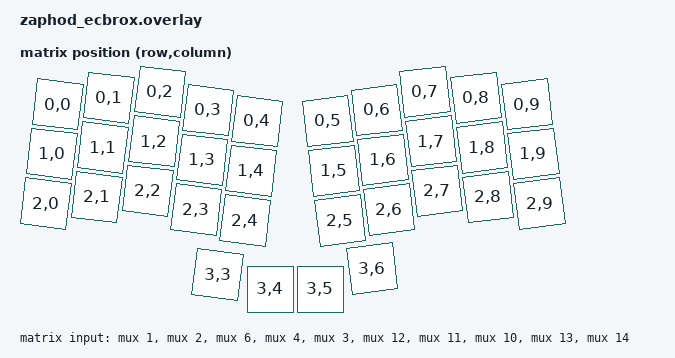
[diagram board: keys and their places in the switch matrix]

#include <zephyr/dt-bindings/dt-util.h>
#include <zephyr/dt-bindings/adc/adc.h>

#include <dt-bindings/zmk/matrix_transform.h>
#include <physical_layouts.dtsi>

&xiao_serial { status = "disabled"; };

/ {
	chosen {
		zmk,kscan = &matrix;
	};

	layout: layout {
		compatible = "zmk,physical-layout";
		display-name = "Default";
		
		transform = <&matrix_transform>;
		
		keys
			= <&key_physical_attrs 100 100 100  53 700    400 338>
			, <&key_physical_attrs 100 100 200  28 700    400 338>
			, <&key_physical_attrs 100 100 300  03 700    400 338>
			, <&key_physical_attrs 100 100 400  28 700    400 338>
			, <&key_physical_attrs 100 100 500  38 700    400 338>
			, <&key_physical_attrs 100 100 700  38 (-700) 900 338>
			, <&key_physical_attrs 100 100 800  28 (-700) 900 338>
			, <&key_physical_attrs 100 100 900  03 (-700) 900 338>
			, <&key_physical_attrs 100 100 1000 28 (-700) 900 338>
			, <&key_physical_attrs 100 100 1100 53 (-700) 900 338>

			, <&key_physical_attrs 100 100 100  153 700    400 338>
			, <&key_physical_attrs 100 100 200  128 700    400 338>
			, <&key_physical_attrs 100 100 300  103 700    400 338>
			, <&key_physical_attrs 100 100 400  128 700    400 338>
			, <&key_physical_attrs 100 100 500  138 700    400 338>
			, <&key_physical_attrs 100 100 700  138 (-700) 900 338>
			, <&key_physical_attrs 100 100 800  128 (-700) 900 338>
			, <&key_physical_attrs 100 100 900  103 (-700) 900 338>
			, <&key_physical_attrs 100 100 1000 128 (-700) 900 338>
			, <&key_physical_attrs 100 100 1100 153 (-700) 900 338>

			, <&key_physical_attrs 100 100 100  253 700    400 338>
			, <&key_physical_attrs 100 100 200  228 700    400 338>
			, <&key_physical_attrs 100 100 300  203 700    400 338>
			, <&key_physical_attrs 100 100 400  228 700    400 338>
			, <&key_physical_attrs 100 100 500  238 700    400 338>
			, <&key_physical_attrs 100 100 700  238 (-700) 900 338>
			, <&key_physical_attrs 100 100 800  228 (-700) 900 338>
			, <&key_physical_attrs 100 100 900  203 (-700) 900 338>
			, <&key_physical_attrs 100 100 1000 228 (-700) 900 338>
			, <&key_physical_attrs 100 100 1100 253 (-700) 900 338>

			, <&key_physical_attrs 100 100 450 365 700 500 415>
			, <&key_physical_attrs 100 100 555 394 0 0 0>
			, <&key_physical_attrs 100 100 655 394 0 0 0>
			, <&key_physical_attrs 100 100 760 365 (-700) 710 415>
			;
	};
	
	mux: mux {
		compatible = "zmk,gpio-mux";
		select-gpios
			= <&xiao_d 10 GPIO_ACTIVE_HIGH>
		        , <&xiao_d 9 GPIO_ACTIVE_HIGH>
		        , <&xiao_d 7 GPIO_ACTIVE_HIGH>
		        , <&xiao_d 8 GPIO_ACTIVE_HIGH> ;
		gpio-controller;
		ngpios = <16>;
		#gpio-cells = <2>;
	};

	matrix: matrix {
		compatible = "zmk,kscan-ec-matrix";

		matrix-relax-us = <800>;
		adc-read-settle-us = <1>;
		// trigger-percentage = <70>;

		strobe-gpios
			= <&xiao_d 6 GPIO_ACTIVE_HIGH>
		        , <&xiao_d 5 GPIO_ACTIVE_HIGH>
		        , <&xiao_d 3 GPIO_ACTIVE_HIGH>
		        , <&xiao_d 4 GPIO_ACTIVE_HIGH>
			;

		input-gpios
			= <&mux 1 0>
			, <&mux 2 0>
			, <&mux 6 0>
			, <&mux 4 0>
			, <&mux 3 0>

			, <&mux 12 0>
			, <&mux 11 0>
			, <&mux 10 0>
			, <&mux 13 0>
			, <&mux 14 0>
			;

		drain-gpios = <&xiao_d 2 GPIO_ACTIVE_HIGH>;
		power-gpios = <&xiao_d 0 GPIO_ACTIVE_HIGH>;
		matrix-warm-up-us = <500>;
		// io-channels = <&xiao_adc 1>;
		strobe-input-masks = <
			0
			0
			0
			(BIT(0) + BIT(1) + BIT(2) + BIT(7) + BIT(8) + BIT(9))
			>;
	};

	matrix_transform: matrix_transform {
		compatible = "zmk,matrix-transform";

		columns = <12>;
		rows = <4>;
	
		map = <
RC(0,0) RC(0,1) RC(0,2) RC(0,3) RC(0,4) RC(0,5) RC(0,6) RC(0,7) RC(0,8) RC(0,9)
RC(1,0) RC(1,1) RC(1,2) RC(1,3) RC(1,4) RC(1,5) RC(1,6) RC(1,7) RC(1,8) RC(1,9)
RC(2,0) RC(2,1) RC(2,2) RC(2,3) RC(2,4) RC(2,5) RC(2,6) RC(2,7) RC(2,8) RC(2,9)
                        RC(3,3) RC(3,4) RC(3,5) RC(3,6)
		>;
	};
	
};
